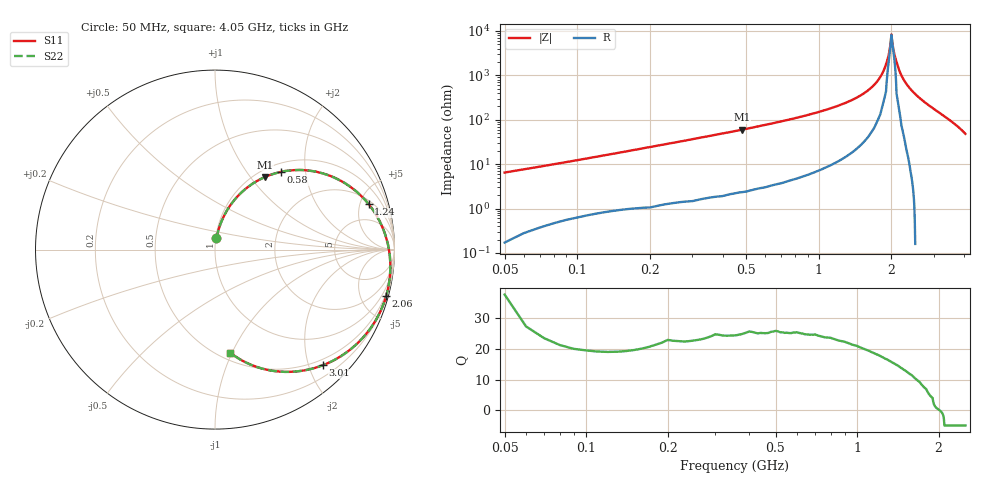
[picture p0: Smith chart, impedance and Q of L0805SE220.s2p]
! AVX Thin Film Operation		Date: May 2002
! Description: Accu-L® Series, Thin Film, SMD, RF Inductors
! Part Number: L0805220GEWTR
! 50 MHz  -  4.05 GHz
! Serial Measurements
# mhz S db R 50
!	S11		S21		S12		S22
!	dB	Phase	dB	Phase	dB	Phase	dB	Phase
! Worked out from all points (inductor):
!   401 points, 50 MHz to 4.05 GHz, reference 50 ohm
!   read as one part in series: L = 19.5 nH near 70 MHz
!   highest Q = 25.5 at 480 MHz (marker M1), where L = 19.8 nH
!   self-resonance near 2.014 GHz
!   S11 on the Smith chart (normalised r, x): 50 MHz: 1.01, +0.13; 580 MHz: 1.15, +1.48; 1.24 GHz: 2.39, +5.97; 2.06 GHz: 0.35, -7.52; 3.01 GHz: 0.39, -2.24; 4.05 GHz: 0.57, -0.98
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50  -24.07 82.9  -0.01 -3.8  -0.01 -3.8  -24.07 82.9
120  -17.17 78.3  -0.15 -8.6  -0.15 -8.6  -17.17 78.3
200  -12.94 73.2  -0.31 -14.1  -0.31 -14.1  -12.94 73.2
480  -6.19 55.5  -1.37 -32.0  -1.37 -32.0  -6.19 55.5
580  -4.89 49.6  -1.91 -37.9  -1.91 -37.9  -4.89 49.6
720  -3.54 41.7  -2.80 -45.7  -2.80 -45.7  -3.54 41.7
1240  -0.99 16.5  -7.62 -70.0  -7.62 -70.0  -0.99 16.5
1390  -0.64 10.1  -9.65 -75.9  -9.65 -75.9  -0.64 10.1
1630  -0.29 0.6  -14.16 -83.9  -14.20 -83.9  -0.29 0.6
1800  -0.15 -5.8  -19.52 -87.4  -19.50 -87.4  -0.15 -5.8
1920  -0.11 -10.1  -26.73 -73.2  -26.70 -73.2  -0.11 -10.1
2000  -0.10 -13.0  -38.67 -25.3  -38.70 -25.3  -0.10 -13.0
2020  -0.10 -13.7  -34.48 -7.8  -34.50 -7.8  -0.10 -13.7
2050  -0.10 -14.8  -30.54 18.5  -30.50 18.5  -0.10 -14.8
2060  -0.10 -15.1  -29.54 27.3  -29.50 27.3  -0.10 -15.1
2160  -0.12 -18.6  -22.34 64.4  -22.30 64.4  -0.12 -18.6
2280  -0.17 -22.7  -17.51 65.0  -17.50 65.0  -0.17 -22.7
2470  -0.32 -29.1  -13.13 60.7  -13.10 60.7  -0.32 -29.1
2720  -0.61 -37.5  -9.62 53.6  -9.62 53.6  -0.61 -37.5
3010  -1.10 -47.1  -6.93 44.9  -6.93 44.9  -1.10 -47.1
3390  -2.05 -59.6  -4.54 33.2  -4.54 33.2  -2.05 -59.6
4050  -4.73 -81.7  -1.98 12.5  -1.98 12.5  -4.73 -81.7
